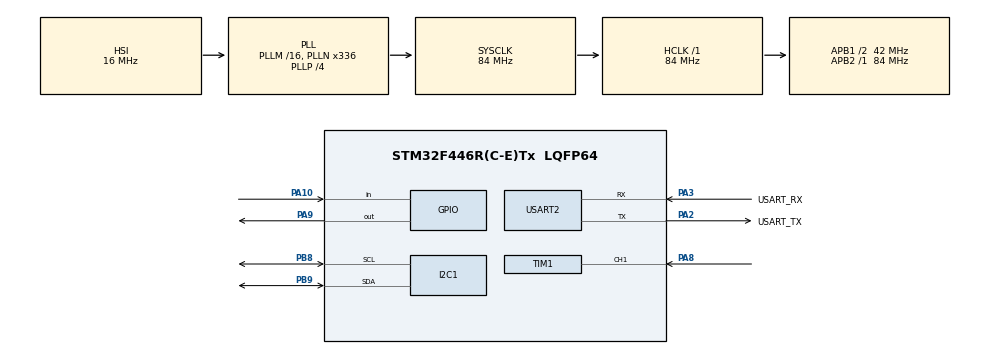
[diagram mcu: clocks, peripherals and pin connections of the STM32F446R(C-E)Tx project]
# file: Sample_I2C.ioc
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FREERTOS.Mutexes01=i2cmutex,Dynamic,NULL
FREERTOS.Tasks01=defaultTask,0,128,StartDefaultTask,Default,NULL,Dynamic,NULL,NULL;HCSR04_Task,2,128,HCSR04_Start,Default,NULL,Dynamic,NULL,NULL;IR_Task,2,128,IRTask_Start,Default,NULL,Dynamic,NULL,NULL;I2C_Task,-3,128,Start_I2CTask,Default,NULL,Dynamic,NULL,NULL
I2C1.OwnAddress=0x48
Mcu.Family=STM32F4
Mcu.Name=STM32F446R(C-E)Tx
Mcu.Package=LQFP64
NVIC.I2C1_ER_IRQn=true\:5\:0\:false\:false\:true\:true\:true\:true
NVIC.I2C1_EV_IRQn=true\:5\:0\:false\:false\:true\:true\:true\:true
NVIC.PriorityGroup=NVIC_PRIORITYGROUP_4
NVIC.TIM1_CC_IRQn=true\:5\:0\:false\:false\:true\:true\:true\:true
NVIC.TIM2_IRQn=true\:15\:0\:false\:false\:true\:false\:false\:true
NVIC.TimeBase=TIM2_IRQn
NVIC.TimeBaseIP=TIM2
PA10.Signal=GPIO_Input
PA13.GPIO_Label=TMS
PA13.Mode=Serial_Wire
PA13.Signal=SYS_JTMS-SWDIO
PA14.GPIO_Label=TCK
PA14.Mode=Serial_Wire
PA14.Signal=SYS_JTCK-SWCLK
PA2.GPIO_Label=USART_TX
PA2.Mode=Asynchronous
PA2.Signal=USART2_TX
PA3.GPIO_Label=USART_RX
PA3.Mode=Asynchronous
PA3.Signal=USART2_RX
PA8.Signal=S_TIM1_CH1
PA9.Signal=GPIO_Output
PB3.GPIO_Label=SWO
PB3.Signal=SYS_JTDO-SWO
PB8.Mode=I2C
PB8.Signal=I2C1_SCL
PB9.Mode=I2C
PB9.Signal=I2C1_SDA
PC14-OSC32_IN.Mode=LSE-External-Oscillator
PC14-OSC32_IN.Signal=RCC_OSC32_IN
PC15-OSC32_OUT.Mode=LSE-External-Oscillator
PC15-OSC32_OUT.Signal=RCC_OSC32_OUT
PH0-OSC_IN.Mode=HSE-External-Oscillator
PH0-OSC_IN.Signal=RCC_OSC_IN
PH1-OSC_OUT.Mode=HSE-External-Oscillator
PH1-OSC_OUT.Signal=RCC_OSC_OUT
ProjectManager.HeapSize=0x200
ProjectManager.StackSize=0x400
ProjectManager.TargetToolchain=STM32CubeIDE
RCC.AHBFreq_Value=84000000
RCC.APB1CLKDivider=RCC_HCLK_DIV2
RCC.APB1Freq_Value=42000000
RCC.APB1TimFreq_Value=84000000
RCC.APB2Freq_Value=84000000
RCC.APB2TimFreq_Value=84000000
RCC.CortexFreq_Value=84000000
RCC.FLatency-AdvancedSettings=FLASH_LATENCY_2
RCC.HCLKFreq_Value=84000000
RCC.HSE_VALUE=8000000
RCC.HSI_VALUE=16000000
RCC.PLLN=336
RCC.PLLP=RCC_PLLP_DIV4
RCC.SYSCLKFreq_VALUE=84000000
RCC.SYSCLKSource=RCC_SYSCLKSOURCE_PLLCLK
RCC.USBFreq_Value=168000000
RCC.VCOOutputFreq_Value=336000000
SH.S_TIM1_CH1.0=TIM1_CH1,Input_Capture1_from_TI1
TIM1.Channel-Input_Capture1_from_TI1=TIM_CHANNEL_1
TIM1.Prescaler=84-1
USART2.VirtualMode=VM_ASYNC
VP_FREERTOS_VS_CMSIS_V1.Mode=CMSIS_V1
VP_SYS_VS_tim2.Mode=TIM2
board=NUCLEO-F446RE

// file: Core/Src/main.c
#include "main.h"
#include "cmsis_os.h"
#include "stm32f4xx.h"

I2C_HandleTypeDef hi2c1;

TIM_HandleTypeDef htim1;

UART_HandleTypeDef huart2;

osThreadId defaultTaskHandle;
osThreadId HCSR04_TaskHandle;
osThreadId IR_TaskHandle;
osThreadId I2C_TaskHandle;
osMutexId i2cmutexHandle;
/* USER CODE BEGIN PV */
#define TRBUFSIZE 1
uint8_t toggle=0;
uint8_t rx_buf;
//uint8_t tx_buf = 0xFE;
uint8_t tx_buf=0;

HAL_StatusTypeDef g_ret = 0x0;
void Reset_I2C(I2C_HandleTypeDef* rv_i2c)
{
	HAL_I2C_DeInit(rv_i2c);
	HAL_I2C_Init(rv_i2c);
}
/* USER CODE END PV */

void SystemClock_Config(void);
static void MX_GPIO_Init(void);
static void MX_I2C1_Init(void);
static void MX_USART2_UART_Init(void);
static void MX_TIM1_Init(void);
void StartDefaultTask(void const * argument);
void HCSR04_Start(void const * argument);
void IRTask_Start(void const * argument);
void Start_I2CTask(void const * argument);

void delay (uint16_t time)
{
	__HAL_TIM_SET_COUNTER(&htim1,0);
	while (__HAL_TIM_GET_COUNTER(&htim1)<time);

}

uint32_t inputVal1=0;
uint32_t inputVal2=0;
uint32_t difference=0;
uint8_t firstVal=0;
uint8_t distance=0;

void i2c_send_data (uint8_t cmd) {

    uint8_t data_u, data_l;
    uint8_t data_t[4];
    data_u = (cmd&0xf0);
    data_l = ((cmd<<4)&0xf0);
    data_t[0] = data_u|0x0C;
    data_t[1] = data_u|0x08;
    data_t[2] = data_l|0x0C;
    data_t[3] = data_l|0x08;
//    HAL_I2C_Master_Transmit (&hi2c1,SLAVE_ADDRESS_ETC,(uint8_t *) data_t, 4,100);
    HAL_I2C_Slave_Transmit(&hi2c1, data_t, 4, 100);

}

void HAL_TIM_IC_CaptureCallback(TIM_HandleTypeDef *htim)
{
	if (htim->Channel==HAL_TIM_ACTIVE_CHANNEL_1)
	{
		if(firstVal==0)
		{
			inputVal1=HAL_TIM_ReadCapturedValue(htim, TIM_CHANNEL_1); //Read second value
			__HAL_TIM_SET_COUNTER(htim,0); //Reset counter
			firstVal=1; //Set first captured as true

			__HAL_TIM_SET_CAPTUREPOLARITY(htim,TIM_CHANNEL_1,TIM_INPUTCHANNELPOLARITY_FALLING);
		}
		else if(firstVal==1)
		{
			inputVal2=HAL_TIM_ReadCapturedValue(htim, TIM_CHANNEL_1); // read second value
			__HAL_TIM_SET_COUNTER(htim,0); //Reset counter

			if (inputVal1<=inputVal2)

			{
				difference=inputVal2-inputVal1;
			}
			else if (inputVal2<inputVal1)
			{
				difference=(0xffff-inputVal1)+inputVal2;
//				difference=0.0f;
//				difference = (htim->Instance->ARR-inputVal1)+inputVal2;
			}

			distance=difference * .034/2;
			firstVal=0; //Set it back to false

			//Set polarity to rising edge
			__HAL_TIM_SET_CAPTUREPOLARITY(htim,TIM_CHANNEL_1,TIM_INPUTCHANNELPOLARITY_RISING);
			__HAL_TIM_DISABLE_IT(&htim1,TIM_IT_CC1);
		}

	}

}
/*
In case you want to incorporate a HRS04 sensor
*/

void HCSR04_Read(void)
{
	HAL_GPIO_WritePin(GPIOA, GPIO_PIN_9, GPIO_PIN_SET);
	delay(10);
	HAL_GPIO_WritePin(GPIOA, GPIO_PIN_9, GPIO_PIN_RESET);
//	HAL_TIM_ENABLE_IT(&htim1,TIM_IT_CC1);
	__HAL_TIM_ENABLE_IT(&htim1, TIM_IT_CC1);
}

int main(void)
{

  HAL_Init();

  SystemClock_Config();

  MX_GPIO_Init();
  MX_I2C1_Init();
  MX_USART2_UART_Init();
  MX_TIM1_Init();

  osMutexDef(i2cmutex);
  i2cmutexHandle = osMutexCreate(osMutex(i2cmutex));

  osThreadDef(defaultTask, StartDefaultTask, osPriorityNormal, 0, 128);
  defaultTaskHandle = osThreadCreate(osThread(defaultTask), NULL);

  /* definition and creation of HCSR04_Task */
  osThreadDef(HCSR04_Task, HCSR04_Start, osPriorityNormal, 0, 128);
  HCSR04_TaskHandle = osThreadCreate(osThread(HCSR04_Task), NULL);

  /* definition and creation of IR_Task */
  osThreadDef(IR_Task, IRTask_Start, osPriorityNormal, 0, 128);
  IR_TaskHandle = osThreadCreate(osThread(IR_Task), NULL);

  /* definition and creation of I2C_Task */
  osThreadDef(I2C_Task, Start_I2CTask, osPriorityIdle, 0, 128);
  I2C_TaskHandle = osThreadCreate(osThread(I2C_Task), NULL);

  osKernelStart();

  /* We should never get here as control is now taken by the scheduler */
  /* Infinite loop */
  /* USER CODE BEGIN WHILE */
  while (1)
  {

  }
  /* USER CODE END 3 */
}

void SystemClock_Config(void)
{
  RCC_OscInitTypeDef RCC_OscInitStruct = {0};
  RCC_ClkInitTypeDef RCC_ClkInitStruct = {0};

  /** Configure the main internal regulator output voltage
  */
  __HAL_RCC_PWR_CLK_ENABLE();
  __HAL_PWR_VOLTAGESCALING_CONFIG(PWR_REGULATOR_VOLTAGE_SCALE3);
  /** Initializes the RCC Oscillators according to the specified parameters
  * in the RCC_OscInitTypeDef structure.
  */
  RCC_OscInitStruct.OscillatorType = RCC_OSCILLATORTYPE_HSI;
  RCC_OscInitStruct.HSIState = RCC_HSI_ON;
  RCC_OscInitStruct.HSICalibrationValue = RCC_HSICALIBRATION_DEFAULT;
  RCC_OscInitStruct.PLL.PLLState = RCC_PLL_ON;
  RCC_OscInitStruct.PLL.PLLSource = RCC_PLLSOURCE_HSI;
  RCC_OscInitStruct.PLL.PLLM = 16;
  RCC_OscInitStruct.PLL.PLLN = 336;
  RCC_OscInitStruct.PLL.PLLP = RCC_PLLP_DIV4;
  RCC_OscInitStruct.PLL.PLLQ = 2;
  RCC_OscInitStruct.PLL.PLLR = 2;
  if (HAL_RCC_OscConfig(&RCC_OscInitStruct) != HAL_OK)
  {
    Error_Handler();
  }
  /** Initializes the CPU, AHB and APB buses clocks
  */
  RCC_ClkInitStruct.ClockType = RCC_CLOCKTYPE_HCLK|RCC_CLOCKTYPE_SYSCLK
                              |RCC_CLOCKTYPE_PCLK1|RCC_CLOCKTYPE_PCLK2;
  RCC_ClkInitStruct.SYSCLKSource = RCC_SYSCLKSOURCE_PLLCLK;
  RCC_ClkInitStruct.AHBCLKDivider = RCC_SYSCLK_DIV1;
  RCC_ClkInitStruct.APB1CLKDivider = RCC_HCLK_DIV2;
  RCC_ClkInitStruct.APB2CLKDivider = RCC_HCLK_DIV1;

  if (HAL_RCC_ClockConfig(&RCC_ClkInitStruct, FLASH_LATENCY_2) != HAL_OK)
  {
    Error_Handler();
  }
}

static void MX_I2C1_Init(void)
{

  hi2c1.Instance = I2C1;
  hi2c1.Init.ClockSpeed = 100000;//100000
  hi2c1.Init.DutyCycle = I2C_DUTYCYCLE_2;
  hi2c1.Init.OwnAddress1 = 0x20;//144
  hi2c1.Init.AddressingMode = I2C_ADDRESSINGMODE_7BIT;
  hi2c1.Init.DualAddressMode = I2C_DUALADDRESS_DISABLE;
  hi2c1.Init.OwnAddress2 = 0;
  hi2c1.Init.GeneralCallMode = I2C_GENERALCALL_DISABLE;
  hi2c1.Init.NoStretchMode = I2C_NOSTRETCH_DISABLE;
  if (HAL_I2C_Init(&hi2c1) != HAL_OK)
  {
    Error_Handler();
  }

}

static void MX_TIM1_Init(void)
{

  TIM_MasterConfigTypeDef sMasterConfig = {0};
  TIM_IC_InitTypeDef sConfigIC = {0};

  htim1.Instance = TIM1;
  htim1.Init.Prescaler = 84-1;
  htim1.Init.CounterMode = TIM_COUNTERMODE_UP;
  htim1.Init.Period = 65535;
  htim1.Init.ClockDivision = TIM_CLOCKDIVISION_DIV1;
  htim1.Init.RepetitionCounter = 0;
  htim1.Init.AutoReloadPreload = TIM_AUTORELOAD_PRELOAD_DISABLE;
  if (HAL_TIM_IC_Init(&htim1) != HAL_OK)
  {
    Error_Handler();
  }
  sMasterConfig.MasterOutputTrigger = TIM_TRGO_RESET;
  sMasterConfig.MasterSlaveMode = TIM_MASTERSLAVEMODE_DISABLE;
  if (HAL_TIMEx_MasterConfigSynchronization(&htim1, &sMasterConfig) != HAL_OK)
  {
    Error_Handler();
  }
  sConfigIC.ICPolarity = TIM_INPUTCHANNELPOLARITY_RISING;
  sConfigIC.ICSelection = TIM_ICSELECTION_DIRECTTI;
  sConfigIC.ICPrescaler = TIM_ICPSC_DIV1;
  sConfigIC.ICFilter = 0;
  if (HAL_TIM_IC_ConfigChannel(&htim1, &sConfigIC, TIM_CHANNEL_1) != HAL_OK)
  {
    Error_Handler();
  }

}

static void MX_USART2_UART_Init(void)
{

  huart2.Instance = USART2;
  huart2.Init.BaudRate = 115200;
  huart2.Init.WordLength = UART_WORDLENGTH_8B;
  huart2.Init.StopBits = UART_STOPBITS_1;
  huart2.Init.Parity = UART_PARITY_NONE;
  huart2.Init.Mode = UART_MODE_TX_RX;
  huart2.Init.HwFlowCtl = UART_HWCONTROL_NONE;
  huart2.Init.OverSampling = UART_OVERSAMPLING_16;
  if (HAL_UART_Init(&huart2) != HAL_OK)
  {
    Error_Handler();
  }

}

static void MX_GPIO_Init(void)
{
  GPIO_InitTypeDef GPIO_InitStruct = {0};

  /* GPIO Ports Clock Enable */
  __HAL_RCC_GPIOC_CLK_ENABLE();
  __HAL_RCC_GPIOH_CLK_ENABLE();
  __HAL_RCC_GPIOA_CLK_ENABLE();
  __HAL_RCC_GPIOB_CLK_ENABLE();

  /*Configure GPIO pin Output Level */
  HAL_GPIO_WritePin(GPIOA, GPIO_PIN_9, GPIO_PIN_RESET);

  /*Configure GPIO pin : PA9 */
  GPIO_InitStruct.Pin = GPIO_PIN_9;
  GPIO_InitStruct.Mode = GPIO_MODE_OUTPUT_PP;
  GPIO_InitStruct.Pull = GPIO_NOPULL;
  GPIO_InitStruct.Speed = GPIO_SPEED_FREQ_LOW;
  HAL_GPIO_Init(GPIOA, &GPIO_InitStruct);

  /*Configure GPIO pin : PA10 */
  GPIO_InitStruct.Pin = GPIO_PIN_10;
  GPIO_InitStruct.Mode = GPIO_MODE_INPUT;
  GPIO_InitStruct.Pull = GPIO_NOPULL;
  HAL_GPIO_Init(GPIOA, &GPIO_InitStruct);

}

void StartDefaultTask(void const * argument)
{
  for(;;)
  {
    osDelay(1);
  }
}

void HCSR04_Start(void const * argument)
{
  /* USER CODE BEGIN HCSR04_Start */
//	MX_TIM1_Init();
  /* Infinite loop */
  for(;;)
  {

    osDelay(1);
  }
  /* USER CODE END HCSR04_Start */
}

void IRTask_Start(void const * argument)
{
	HAL_TIM_IC_Start_IT(&htim1, TIM_CHANNEL_1);

  for(;;)
  {
	  if(!HAL_GPIO_ReadPin(GPIOA, GPIO_PIN_10)) {
		  	  tx_buf=1;
	  		  toggle=1;

	  	  }
	  	  else
	  		  {
	  		  	  toggle=0;
	  		  	  tx_buf=0;
	  		  }
    osDelay(20);

  }
  /* USER CODE END IRTask_Start */
}

void Start_I2CTask(void const * argument)
{
  /* USER CODE BEGIN Start_I2CTask */
  /* Infinite loop */
  for(;;)
  {
	  if((g_ret = HAL_I2C_Slave_Receive(&hi2c1, (uint8_t*)&rx_buf,TRBUFSIZE,0xFFFFFFFF))!=HAL_OK)
	  	  {
	  		  Reset_I2C(&hi2c1);
	  	  }
	  	  if (g_ret ==HAL_OK) {
	  		if((g_ret = HAL_I2C_Slave_Transmit(&hi2c1,(uint8_t*)&tx_buf, TRBUFSIZE, 0xFFFFFFFF))!=HAL_OK)
	  		{
	  			Reset_I2C(&hi2c1);

	  	  }//STM_GET SEND SIGNAL
	  		else if (rx_buf==0x02){
	  			rx_buf=0;
	  			HAL_I2C_Slave_Transmit(&hi2c1,(uint8_t*)&tx_buf, TRBUFSIZE, 0xFFFFFFFF);

	  		}
	  	  }

    osDelay(20);
  }
  /* USER CODE END Start_I2CTask */
}

void HAL_TIM_PeriodElapsedCallback(TIM_HandleTypeDef *htim)
{
  if (htim->Instance == TIM2) {
    HAL_IncTick();
  }
}

void Error_Handler(void)
{
  __disable_irq();
  while (1)
  {
  }
}
